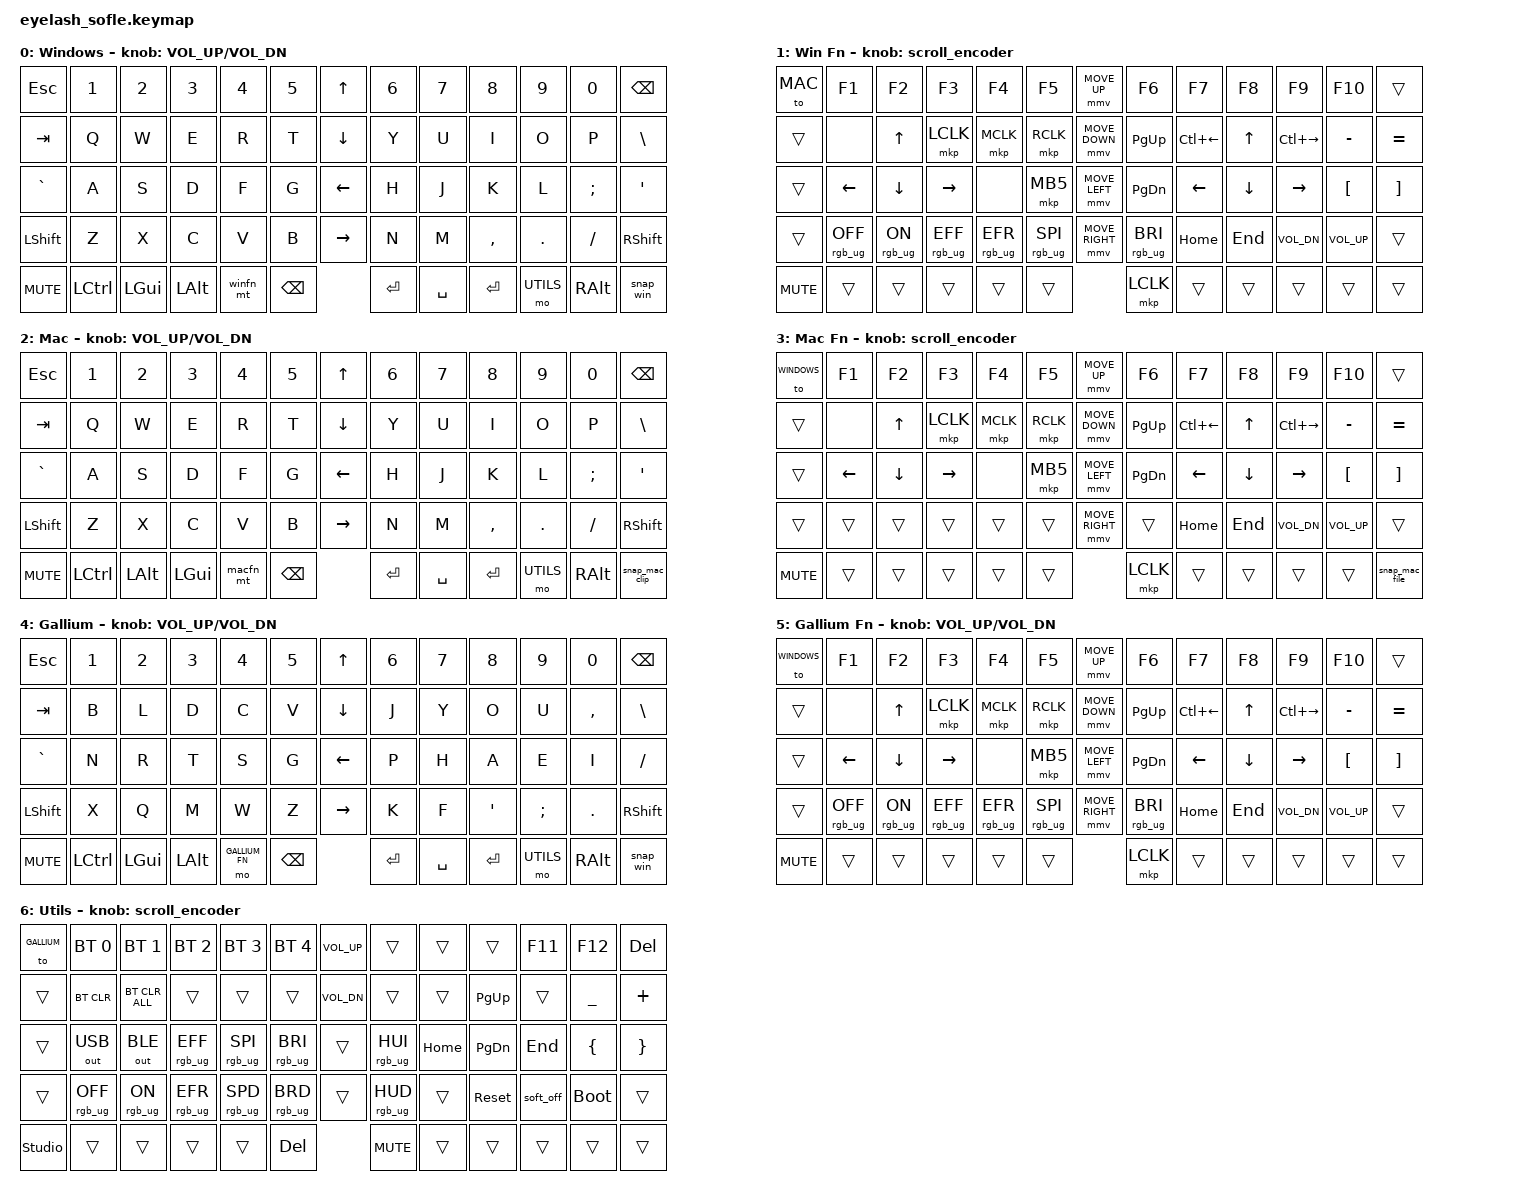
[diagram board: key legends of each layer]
#define ZMK_POINTING_DEFAULT_MOVE_VAL 1200  // 600
#define ZMK_POINTING_DEFAULT_SCRL_VAL 25   // 10

#include <input/processors.dtsi>
#include <zephyr/dt-bindings/input/input-event-codes.h>
#include <behaviors.dtsi>
#include <dt-bindings/zmk/bt.h>
#include <dt-bindings/zmk/keys.h>
#include <dt-bindings/zmk/outputs.h>
#include <dt-bindings/zmk/pointing.h>
#include <dt-bindings/zmk/rgb.h>

// Layer IDs
#define WINDOWS 0
#define WINDOWS_FN   1
#define MAC   2
#define MAC_FN   3
#define GALLIUM 4
#define GALLIUM_FN  5
#define UTILS 6

&mmv_input_listener { input-processors = <&zip_xy_scaler 2 1>; };

&msc_input_listener { input-processors = <&zip_scroll_scaler 2 1>; };

&msc {
    acceleration-exponent = <1>;      // 0
    time-to-max-speed-ms = <100>;     // 300
    delay-ms = <0>;                   // 0
};

&mmv {
    time-to-max-speed-ms = <500>;
    acceleration-exponent = <1>;
    trigger-period-ms = <16>;
};

&soft_off { hold-time-ms = <2000>; };

/ {
    scroll_encoder: scroll_encoder {
        compatible = "zmk,behavior-sensor-rotate";
        #sensor-binding-cells = <0>;
        bindings = <&msc SCRL_DOWN>, <&msc SCRL_UP>;

        tap-ms = <100>;
    };

    behaviors {
        winfn_mt: momentary_or_toggle_win_fn {
            // If held, momentary switch to layer 1 or double tap to toggle layer 1
            compatible = "zmk,behavior-tap-dance";
            #binding-cells = <0>;
            tapping-term-ms = <200>;
            bindings = <&mo WINDOWS_FN>, <&tog WINDOWS_FN>;
        };

        macfn_mt: momentary_or_toggle_mac_fn {
            // If held, momentary switch to layer 3 or double tap to toggle layer 3
            compatible = "zmk,behavior-tap-dance";
            #binding-cells = <0>;
            tapping-term-ms = <200>;
            bindings = <&mo MAC_FN>, <&tog MAC_FN>;
        };
    };

    combos {
        compatible = "zmk,combos";

        softoff {
            bindings = <&soft_off>;
            key-positions = <14 28 40>; // Keys Q, S, Z
        };
    };

    macros {
        snap_win: snapshot_win {
            compatible = "zmk,behavior-macro";
            #binding-cells = <0>;
            bindings =
                <&macro_press>,
                <&kp LEFT_WIN &kp LEFT_SHIFT>,
                <&macro_tap>,
                <&kp S>,
                <&macro_release>,
                <&kp LEFT_COMMAND &kp LEFT_SHIFT>;

            label = "SNAPSHOT_WIN";
        };

        snap_mac_clip: snapshot_mac_clip {
            compatible = "zmk,behavior-macro";
            #binding-cells = <0>;
            bindings =
                <&macro_press>,
                <&kp LEFT_COMMAND &kp LEFT_CONTROL &kp LEFT_SHIFT>,
                <&macro_tap>,
                <&kp NUMBER_4>,
                <&macro_release>,
                <&kp LEFT_COMMAND &kp LEFT_CONTROL &kp LEFT_SHIFT>;

            label = "SNAPSHOT_MAC_CLIP";
        };

        snap_mac_file: snapshot_mac_file {
            compatible = "zmk,behavior-macro";
            #binding-cells = <0>;
            bindings =
                <&macro_press>,
                <&kp LEFT_COMMAND &kp LEFT_SHIFT>,
                <&macro_tap>,
                <&kp NUMBER_4>,
                <&macro_release>,
                <&kp LEFT_COMMAND &kp LEFT_SHIFT>;

            label = "SNAPSHOT_MAC_FILE";
        };
    };

// Bottom left key is the encoder click
// Column 7 (middle column) is the joystick from the right half

    keymap {
        compatible = "zmk,keymap";
//
// Windows layout
//
        layer_0 {
            bindings = <
&kp ESC     &kp N1        &kp N2       &kp N3        &kp N4         &kp N5               &kp UP                 &kp N6     &kp N7         &kp N8         &kp N9        &kp N0          &kp BSPC
&kp TAB     &kp Q         &kp W        &kp E         &kp R          &kp T                &kp DOWN               &kp Y      &kp U          &kp I          &kp O         &kp P           &kp BSLH
&kp GRAVE   &kp A         &kp S        &kp D         &kp F          &kp G                &kp LEFT               &kp H      &kp J          &kp K          &kp L         &kp SEMI        &kp APOS
&kp LSHFT   &kp Z         &kp X        &kp C         &kp V          &kp B                &kp RIGHT              &kp N      &kp M          &kp COMMA      &kp DOT       &kp FSLH        &kp RSHIFT
&kp C_MUTE                &kp LCTRL    &kp LGUI      &kp LALT       &winfn_mt  &kp BSPC  &kp ENTER  &kp SPACE   &kp ENTER  &mo UTILS      &kp RIGHT_ALT  &snap_win
            >;

            sensor-bindings = <&inc_dec_kp C_VOLUME_UP C_VOL_DN>;
            display-name = "Windows";
        };

        layer_1 {
            bindings = <
&to MAC     &kp F1           &kp F2          &kp F3           &kp F4           &kp F5                   &mmv MOVE_UP               &kp F6           &kp F7        &kp F8         &kp F9         &kp F10       &trans
&trans      &none            &kp UP          &mkp LCLK        &mkp MCLK        &mkp RCLK                &mmv MOVE_DOWN             &kp PG_UP        &kp LC(LEFT)  &kp UP         &kp LC(RIGHT)  &kp MINUS     &kp EQUAL
&trans      &kp LEFT         &kp DOWN        &kp RIGHT        &none            &mkp MB5                 &mmv MOVE_LEFT             &kp PG_DN        &kp LEFT      &kp DOWN       &kp RIGHT      &kp LBKT      &kp RBKT
&trans      &rgb_ug RGB_OFF  &rgb_ug RGB_ON  &rgb_ug RGB_EFF  &rgb_ug RGB_EFR  &rgb_ug RGB_SPI          &mmv MOVE_RIGHT            &rgb_ug RGB_BRI  &kp HOME      &kp END        &kp C_VOL_DN   &kp C_VOL_UP  &trans
&kp C_MUTE                   &trans          &trans           &trans           &trans          &trans   &mkp LCLK        &trans    &trans           &trans        &trans         &trans
            >;

            display-name = "Win Fn";
            sensor-bindings = <&scroll_encoder>;
        };
//
// Mac layout
//
        layer_2 {
            bindings = <
&kp ESC     &kp N1          &kp N2          &kp N3           &kp N4            &kp N5                     &kp UP_ARROW               &kp N6          &kp N7         &kp N8         &kp N9           &kp N0            &kp BACKSPACE
&kp TAB     &kp Q           &kp W           &kp E            &kp R             &kp T                      &kp DOWN_ARROW             &kp Y           &kp U          &kp I          &kp O            &kp P             &kp BSLH
&kp GRAVE   &kp A           &kp S           &kp D            &kp F             &kp G                      &kp LEFT_ARROW             &kp H           &kp J          &kp K          &kp L            &kp SEMI          &kp APOS
&kp LSHFT   &kp Z           &kp X           &kp C            &kp V             &kp B                      &kp RIGHT_ARROW            &kp N           &kp M          &kp COMMA      &kp DOT          &kp FSLH          &kp RIGHT_SHIFT
&kp C_MUTE                  &kp LCTRL       &kp LEFT_ALT     &kp LEFT_GUI      &macfn_mt   &kp BACKSPACE  &kp ENTER       &kp SPACE  &kp ENTER       &mo UTILS          &kp RIGHT_ALT  &snap_mac_clip
            >;

            sensor-bindings = <&inc_dec_kp C_VOLUME_UP C_VOL_DN>;
            display-name = "Mac";
        };

        layer_3 {
            bindings = <
&to WINDOWS &kp F1           &kp F2          &kp F3           &kp F4           &kp F5                   &mmv MOVE_UP               &kp F6           &kp F7        &kp F8         &kp F9           &kp F10           &trans
&trans      &none            &kp UP          &mkp LCLK        &mkp MCLK        &mkp RCLK                &mmv MOVE_DOWN             &kp PG_UP        &kp LC(LEFT)  &kp UP         &kp LC(RIGHT)    &kp MINUS         &kp EQUAL
&trans      &kp LEFT         &kp DOWN        &kp RIGHT        &none            &mkp MB5                 &mmv MOVE_LEFT             &kp PG_DN        &kp LEFT      &kp DOWN       &kp RIGHT        &kp LEFT_BRACKET  &kp RIGHT_BRACKET
&trans      &trans           &trans          &trans           &trans           &trans                   &mmv MOVE_RIGHT            &trans           &kp HOME      &kp END        &kp C_VOL_DN     &kp C_VOL_UP      &trans
&kp C_MUTE                   &trans          &trans           &trans           &trans          &trans   &mkp LCLK        &trans    &trans           &trans        &trans         &snap_mac_file
            >;

            display-name = "Mac Fn";
            sensor-bindings = <&scroll_encoder>;
        };

//
// Gallium layout for Windows
//
        gallium {
            bindings = <
&kp ESC     &kp N1          &kp N2           &kp N3          &kp N4            &kp N5                    &kp UP_ARROW                &kp N6          &kp N7         &kp N8         &kp N9        &kp N0            &kp BACKSPACE
&kp TAB     &kp B           &kp L            &kp D           &kp C             &kp V                     &kp DOWN_ARROW              &kp J           &kp Y          &kp O          &kp U         &kp COMMA         &kp BSLH
&kp GRAVE   &kp N           &kp R            &kp T           &kp S             &kp G                     &kp LEFT_ARROW              &kp P           &kp H          &kp A          &kp E         &kp I             &kp FSLH
&kp LSHFT   &kp X           &kp Q            &kp M           &kp W             &kp Z                     &kp RIGHT_ARROW             &kp K           &kp F          &kp APOS       &kp SEMI      &kp DOT           &kp RIGHT_SHIFT
&kp C_MUTE                  &kp LCTRL        &kp LEFT_GUI    &kp LEFT_ALT      &mo GALLIUM_FN  &kp BACKSPACE  &kp ENTER       &kp SPACE   &kp ENTER       &mo UTILS          &kp RIGHT_ALT  &snap_win
            >;

            sensor-bindings = <&inc_dec_kp C_VOLUME_UP C_VOL_DN>;
            display-name = "Gallium";
        };

        gallium_fn {
            bindings = <
&to WINDOWS &kp F1           &kp F2          &kp F3           &kp F4           &kp F5                   &mmv MOVE_UP               &kp F6           &kp F7        &kp F8         &kp F9         &kp F10           &trans
&trans      &none            &kp UP          &mkp LCLK        &mkp MCLK        &mkp RCLK                &mmv MOVE_DOWN             &kp PG_UP        &kp LC(LEFT)  &kp UP         &kp LC(RIGHT)  &kp MINUS         &kp EQUAL
&trans      &kp LEFT         &kp DOWN        &kp RIGHT        &none            &mkp MB5                 &mmv MOVE_LEFT             &kp PG_DN        &kp LEFT      &kp DOWN       &kp RIGHT      &kp LEFT_BRACKET  &kp RIGHT_BRACKET
&trans      &rgb_ug RGB_OFF  &rgb_ug RGB_ON  &rgb_ug RGB_EFF  &rgb_ug RGB_EFR  &rgb_ug RGB_SPI          &mmv MOVE_RIGHT            &rgb_ug RGB_BRI  &kp HOME      &kp END        &kp C_VOL_DN   &kp C_VOL_UP      &trans
&kp C_MUTE                   &trans          &trans           &trans           &trans          &trans   &mkp LCLK        &trans    &trans           &trans        &trans         &trans
            >;

            sensor-bindings = <&inc_dec_kp C_VOLUME_UP C_VOL_DN>;
            display-name = "Gallium Fn";
        };

        utils {
            bindings = <
&to GALLIUM     &bt BT_SEL 0     &bt BT_SEL 1    &bt BT_SEL 2     &bt BT_SEL 3     &bt BT_SEL 4          &kp C_VOL_UP   &trans            &trans      &trans      &kp F11    &kp F12      &kp DEL
&trans          &bt BT_CLR       &bt BT_CLR_ALL  &trans           &trans           &trans                &kp C_VOL_DN   &trans            &trans      &kp PG_UP   &trans     &kp UNDER    &kp PLUS
&trans          &out OUT_USB     &out OUT_BLE    &rgb_ug RGB_EFF  &rgb_ug RGB_SPI  &rgb_ug RGB_BRI       &trans         &rgb_ug RGB_HUI   &kp HOME    &kp PG_DN   &kp END    &kp LBRC     &kp RBRC
&trans          &rgb_ug RGB_OFF  &rgb_ug RGB_ON  &rgb_ug RGB_EFR  &rgb_ug RGB_SPD  &rgb_ug RGB_BRD       &trans         &rgb_ug RGB_HUD   &trans      &sys_reset  &soft_off  &bootloader  &trans
&studio_unlock                   &trans          &trans           &trans           &trans                &kp DEL   &kp C_MUTE             &trans         &trans   &trans      &trans      &trans
            >;

            display-name = "Utils";
            sensor-bindings = <&scroll_encoder>;
        };

    };
};
